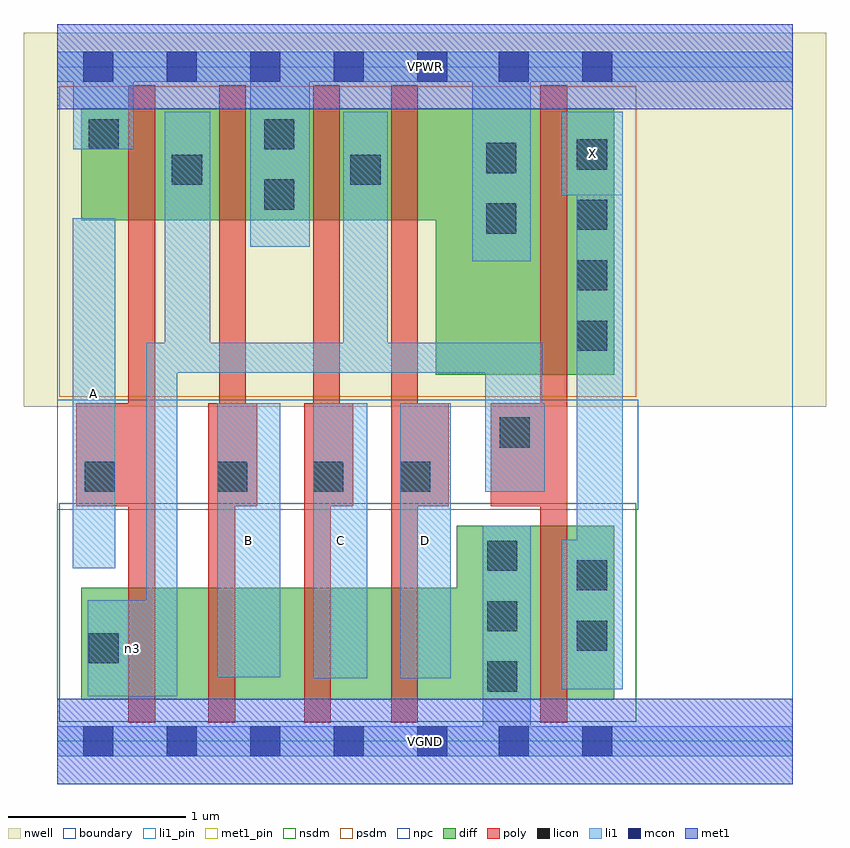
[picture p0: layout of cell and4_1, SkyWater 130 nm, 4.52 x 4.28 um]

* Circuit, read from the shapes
.subckt and4_1 A B C D VGND VPWR X n3
XM1 n1 A n3 VSUBS sky130_fd_pr__nfet_01v8 w=0.63 l=0.15
XM2 n2 B n1 VSUBS sky130_fd_pr__nfet_01v8 w=0.63 l=0.15
XM3 n4 C n2 VSUBS sky130_fd_pr__nfet_01v8 w=0.63 l=0.15
XM4 VGND D n4 VSUBS sky130_fd_pr__nfet_01v8 w=0.63 l=0.15
XM5 X n3 VGND VSUBS sky130_fd_pr__nfet_01v8 w=0.98 l=0.15
XM6 n3 A VPWR n5 sky130_fd_pr__pfet_01v8 w=0.63 l=0.15
XM7 VPWR B n3 n5 sky130_fd_pr__pfet_01v8 w=0.63 l=0.15
XM8 n3 C VPWR n5 sky130_fd_pr__pfet_01v8 w=0.63 l=0.15
XM9 VPWR D n3 n5 sky130_fd_pr__pfet_01v8 w=0.63 l=0.15
XM10 X n3 VPWR n5 sky130_fd_pr__pfet_01v8 w=1.5 l=0.15
.ends

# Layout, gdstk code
import gdstk
lib = gdstk.Library(unit=1e-6, precision=1e-09)
def R(c, l, rs):  # rectangles x0, y0, x1, y1
    for r in rs: c.add(gdstk.rectangle(r[:2], r[2:], *l))
def A(c, l, x, y, w, h, nx, ny, dx, dy):  # array of equal rectangles
    R(c, l, [(x+i*dx, y+j*dy, x+i*dx+w, y+j*dy+h) for i in range(nx) for j in range(ny)])
nwell = (64, 20)
diff = (65, 20)
poly = (66, 20)
licon = (66, 44)
li1_pin = (67, 16)
li1 = (67, 20)
mcon = (67, 44)
met1_pin = (68, 16)
met1 = (68, 20)
nsdm = (93, 44)
psdm = (94, 20)
npc = (95, 20)
boundary = (235, 4)

and4_1 = lib.new_cell('and4_1')
R(and4_1, nwell, [(-0.19,1.885,4.33,3.99), (0,1.885,4.14,3.99)])
R(and4_1, diff, [(0.135,0.235,3.135,0.865), (2.25,0.235,3.135,1.215), (2.13,2.065,3.135,3.565), (0.135,2.935,3.135,3.565)])
R(and4_1, poly, [(0.4,0.105,0.55,3.695), (0.85,0.105,1,1.905), (1.39,0.105,1.54,1.905), (1.88,0.105,2.03,3.695), (2.72,0.105,2.87,3.695), (0.105,1.325,0.55,1.905), (0.85,1.325,1.125,1.905), (0.91,1.325,1.06,3.695), (1.39,1.325,1.665,1.905), (1.44,1.325,1.59,3.695), (1.88,1.325,2.205,1.905), (2.44,1.325,2.87,1.905)])
A(and4_1, licon, 2.42, 0.28, 0.17, 0.17, 1, 3, 0, 0.34)
A(and4_1, licon, 2.925, 2.2, 0.17, 0.17, 1, 4, 0, 0.34)
R(and4_1, licon, [(0.175,0.44,0.345,0.61), (2.925,0.51,3.095,0.68), (2.925,0.85,3.095,1.02), (0.155,1.405,0.325,1.575), (0.9,1.405,1.07,1.575), (1.44,1.405,1.61,1.575), (1.93,1.405,2.1,1.575), (2.49,1.655,2.66,1.825), (2.415,2.86,2.585,3.03), (1.165,2.995,1.335,3.165), (0.645,3.135,0.815,3.305), (1.65,3.135,1.82,3.305), (2.415,3.2,2.585,3.37), (0.175,3.335,0.345,3.505), (1.165,3.335,1.335,3.505)])
R(and4_1, li1_pin, [(1.44,0.355,1.745,1.905), (1.93,0.355,2.215,1.905), (0.9,0.36,1.255,1.905), (0.085,0.975,0.325,2.945), (2.84,3.075,3.185,3.545)])
R(and4_1, li1, [(0,-0.085,4.14,0.085), (2.395,-0.085,2.665,1.215), (0.17,0.255,0.675,0.795), (0.5,0.255,0.675,2.245), (2.84,0.295,3.185,1.135), (2.925,0.295,3.185,3.545), (1.44,0.355,1.745,1.905), (1.93,0.355,2.215,1.905), (0.9,0.36,1.255,1.905), (0.085,0.975,0.325,2.945), (2.41,1.405,2.73,2.245), (2.41,1.405,2.745,1.905), (0.5,2.075,2.73,2.245), (0.605,2.075,0.86,3.545), (1.61,2.075,1.86,3.545), (2.335,2.705,2.665,3.885), (1.085,2.785,1.42,3.885), (2.84,3.075,3.185,3.545), (0.09,3.335,0.43,3.885), (0,3.715,4.14,3.885)])
A(and4_1, mcon, 0.145, -0.085, 0.17, 0.17, 5, 2, 0.47, 3.8)
R(and4_1, mcon, [(2.485,-0.085,2.655,0.085), (2.955,-0.085,3.125,0.085), (2.485,3.715,2.655,3.885), (2.955,3.715,3.125,3.885)])
R(and4_1, met1_pin, [(0,-0.24,4.14,0.24), (0,3.56,4.14,4.04)])
R(and4_1, met1, [(0,-0.24,4.14,0.24), (0,3.56,4.14,4.04)])
R(and4_1, nsdm, [(0.01,0.11,3.26,1.34)])
R(and4_1, psdm, [(0.01,1.94,3.26,3.69)])
R(and4_1, npc, [(0,1.305,3.27,1.925)])
R(and4_1, boundary, [(0,0,4.14,3.8)])
and4_1.add(gdstk.Label('A', (0.205,1.96), layer=67, texttype=5))
and4_1.add(gdstk.Label('B', (1.077,1.132), layer=67, texttype=5))
and4_1.add(gdstk.Label('C', (1.592,1.13), layer=67, texttype=5))
and4_1.add(gdstk.Label('D', (2.072,1.13), layer=67, texttype=5))
and4_1.add(gdstk.Label('X', (3.012,3.31), layer=67, texttype=5))
and4_1.add(gdstk.Label('n3', (0.422,0.525), layer=67, texttype=5))
and4_1.add(gdstk.Label('VPWR', (2.07,3.8), layer=68, texttype=5))
and4_1.add(gdstk.Label('VGND', (2.07,0), layer=68, texttype=5))
and4_1.add(gdstk.Label('A', (0.205,1.96), layer=67, texttype=16))
and4_1.add(gdstk.Label('B', (1.077,1.132), layer=67, texttype=16))
and4_1.add(gdstk.Label('C', (1.592,1.13), layer=67, texttype=16))
and4_1.add(gdstk.Label('D', (2.072,1.13), layer=67, texttype=16))
and4_1.add(gdstk.Label('X', (3.012,3.31), layer=67, texttype=16))
and4_1.add(gdstk.Label('VPWR', (2.07,3.8), layer=68, texttype=16))
and4_1.add(gdstk.Label('VGND', (2.07,0), layer=68, texttype=16))

lib.write_gds('and4_1.gds')
